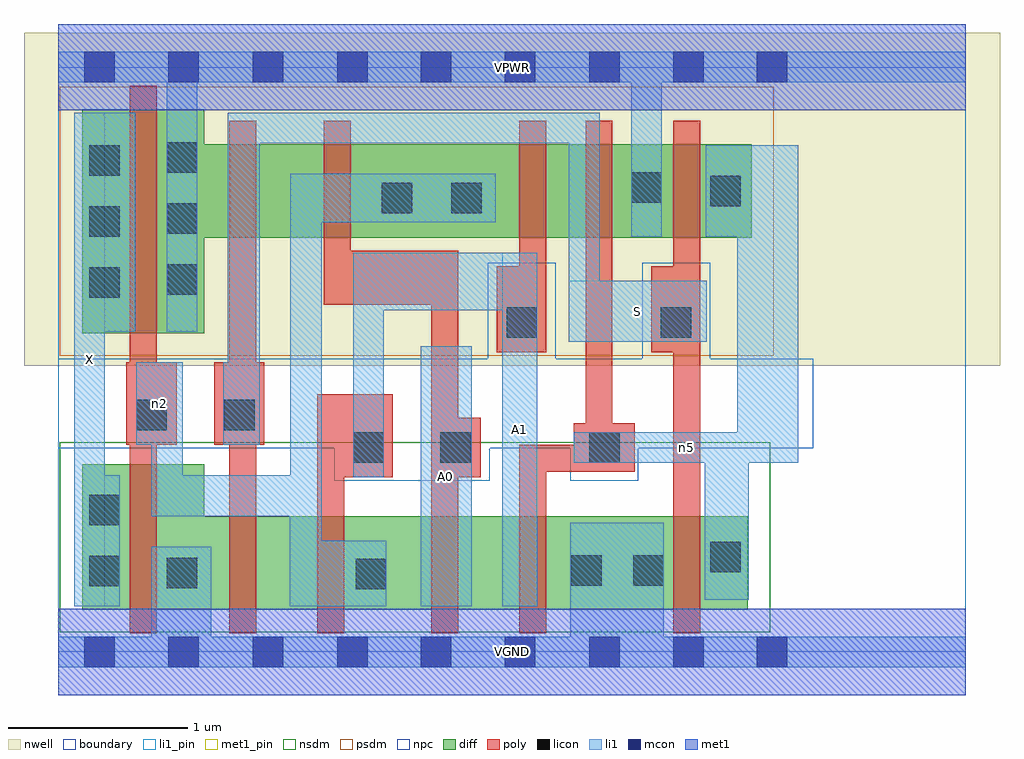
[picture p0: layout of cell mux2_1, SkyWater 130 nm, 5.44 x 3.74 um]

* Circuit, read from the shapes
.subckt mux2_1 A0 A1 S VGND VPWR X n2 n5
XM1 VGND n2 X VSUBS sky130_fd_pr__nfet_01v8 w=0.81 l=0.15
XM2 n1 S VGND VSUBS sky130_fd_pr__nfet_01v8 w=0.52 l=0.15
XM3 n2 A1 n1 VSUBS sky130_fd_pr__nfet_01v8 w=0.52 l=0.15
XM4 n3 A0 n2 VSUBS sky130_fd_pr__nfet_01v8 w=0.52 l=0.15
XM5 VGND n5 n3 VSUBS sky130_fd_pr__nfet_01v8 w=0.52 l=0.15
XM6 n5 S VGND VSUBS sky130_fd_pr__nfet_01v8 w=0.52 l=0.15
XM7 VPWR n2 X n4 sky130_fd_pr__pfet_01v8 w=1.25 l=0.15
XM8 n6 S VPWR n4 sky130_fd_pr__pfet_01v8 w=0.52 l=0.15
XM9 n2 A0 n6 n4 sky130_fd_pr__pfet_01v8 w=0.52 l=0.15
XM10 n7 A1 n2 n4 sky130_fd_pr__pfet_01v8 w=0.52 l=0.15
XM11 VPWR n5 n7 n4 sky130_fd_pr__pfet_01v8 w=0.52 l=0.15
XM12 n5 S VPWR n4 sky130_fd_pr__pfet_01v8 w=0.52 l=0.15
.ends

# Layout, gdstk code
import gdstk
lib = gdstk.Library(unit=1e-6, precision=1e-09)
def R(c, l, rs):  # rectangles x0, y0, x1, y1
    for r in rs: c.add(gdstk.rectangle(r[:2], r[2:], *l))
def A(c, l, x, y, w, h, nx, ny, dx, dy):  # array of equal rectangles
    R(c, l, [(x+i*dx, y+j*dy, x+i*dx+w, y+j*dy+h) for i in range(nx) for j in range(ny)])
nwell = (64, 20)
diff = (65, 20)
poly = (66, 20)
licon = (66, 44)
li1_pin = (67, 16)
li1 = (67, 20)
mcon = (67, 44)
met1_pin = (68, 16)
met1 = (68, 20)
nsdm = (93, 44)
psdm = (94, 20)
npc = (95, 20)
boundary = (235, 4)

mux2_1 = lib.new_cell('mux2_1')
R(mux2_1, nwell, [(-0.19,1.595,5.25,3.45), (0,1.595,5.06,3.45)])
R(mux2_1, diff, [(0.135,0.235,3.845,0.755), (0.135,0.235,0.815,1.045), (0.135,1.775,0.815,3.025), (0.135,2.31,3.865,2.83)])
R(mux2_1, poly, [(0.4,0.105,0.55,3.155), (0.955,0.105,1.105,2.96), (1.445,0.105,1.595,1.435), (2.08,0.105,2.23,2.235), (2.57,0.105,2.72,1.155), (3.43,0.105,3.58,2.96), (1.445,0.975,1.865,1.435), (2.08,0.975,2.355,1.305), (2.57,1.005,3.215,1.155), (2.875,1.005,3.215,1.275), (2.94,1.005,3.09,2.96), (0.38,1.155,0.66,1.615), (0.87,1.155,1.15,1.615), (2.445,1.67,2.72,2.15), (2.57,1.67,2.72,2.96), (3.305,1.67,3.58,2.15), (1.48,1.935,1.63,2.96), (1.48,1.935,2.23,2.235)])
A(mux2_1, licon, 0.175, 1.975, 0.17, 0.17, 1, 3, 0, 0.34)
A(mux2_1, licon, 0.605, 1.99, 0.17, 0.17, 1, 3, 0, 0.34)
R(mux2_1, licon, [(1.66,0.35,1.83,0.52), (0.605,0.355,0.775,0.525), (0.175,0.365,0.345,0.535), (2.86,0.37,3.03,0.54), (3.205,0.37,3.375,0.54), (3.635,0.445,3.805,0.615), (0.175,0.705,0.345,0.875), (1.645,1.055,1.815,1.225), (2.13,1.055,2.3,1.225), (2.96,1.055,3.13,1.225), (0.435,1.235,0.605,1.405), (0.925,1.235,1.095,1.405), (2.5,1.75,2.67,1.92), (3.36,1.75,3.53,1.92), (1.805,2.445,1.975,2.615), (2.19,2.445,2.36,2.615), (3.635,2.485,3.805,2.655), (3.195,2.505,3.365,2.675)])
R(mux2_1, li1_pin, [(0.09,0.255,0.26,3.005), (2.02,0.255,2.305,1.705), (2.475,0.255,2.67,2.225), (2.845,1.73,3.615,2.07)])
R(mux2_1, li1, [(0,-0.085,5.06,0.085), (0.52,-0.085,0.855,0.585), (2.855,-0.085,3.375,0.72), (0.09,0.255,0.26,3.005), (0.09,0.255,0.345,0.985), (1.29,0.255,1.83,0.62), (1.29,0.255,1.47,0.985), (1.295,0.255,1.47,2.665), (2.02,0.255,2.305,1.705), (2.475,0.255,2.67,2.225), (3.605,0.29,3.85,1.225), (0.52,0.755,1.47,0.985), (0.52,0.755,0.695,1.615), (1.645,0.975,1.815,2.225), (2.875,1.055,4.125,1.225), (3.785,1.055,4.125,2.825), (0.435,1.155,0.695,1.615), (0.92,1.155,1.125,1.615), (0.945,1.155,1.125,3.005), (2.845,1.73,3.02,3.005), (2.845,1.73,3.615,2.07), (0.09,1.785,0.43,3.005), (0.605,1.785,0.775,3.345), (1.645,1.905,2.67,2.225), (3.195,2.315,3.365,3.345), (3.61,2.315,4.125,2.825), (1.295,2.395,2.44,2.665), (0.945,2.835,3.02,3.005), (0,3.175,5.06,3.345)])
A(mux2_1, mcon, 0.145, -0.085, 0.17, 0.17, 4, 2, 0.47, 3.26)
A(mux2_1, mcon, 2.02, -0.085, 0.17, 0.17, 4, 2, 0.47, 3.26)
R(mux2_1, mcon, [(3.895,-0.085,4.065,0.085), (3.895,3.175,4.065,3.345)])
R(mux2_1, met1_pin, [(0,-0.24,5.06,0.24), (0,3.02,5.06,3.5)])
R(mux2_1, met1, [(0,-0.24,5.06,0.24), (0,3.02,5.06,3.5)])
R(mux2_1, nsdm, [(0.01,0.11,3.97,1.17)])
R(mux2_1, psdm, [(0.01,1.65,3.99,3.15)])
R(mux2_1, npc, [(1.54,0.955,2.405,1.635), (2.855,0.955,3.235,1.635), (0,1.135,4.21,1.635), (2.395,1.135,2.775,2.17), (3.255,1.135,3.635,2.17)])
R(mux2_1, boundary, [(0,0,5.06,3.26)])
mux2_1.add(gdstk.Label('A0', (2.162,0.98), layer=67, texttype=5))
mux2_1.add(gdstk.Label('A1', (2.572,1.24), layer=67, texttype=5))
mux2_1.add(gdstk.Label('S', (3.23,1.9), layer=67, texttype=5))
mux2_1.add(gdstk.Label('X', (0.175,1.63), layer=67, texttype=5))
mux2_1.add(gdstk.Label('n2', (0.565,1.385), layer=67, texttype=5))
mux2_1.add(gdstk.Label('n5', (3.5,1.14), layer=67, texttype=5))
mux2_1.add(gdstk.Label('VPWR', (2.53,3.26), layer=68, texttype=5))
mux2_1.add(gdstk.Label('VGND', (2.53,0), layer=68, texttype=5))
mux2_1.add(gdstk.Label('A0', (2.162,0.98), layer=67, texttype=16))
mux2_1.add(gdstk.Label('A1', (2.572,1.24), layer=67, texttype=16))
mux2_1.add(gdstk.Label('S', (3.23,1.9), layer=67, texttype=16))
mux2_1.add(gdstk.Label('X', (0.175,1.63), layer=67, texttype=16))
mux2_1.add(gdstk.Label('VPWR', (2.53,3.26), layer=68, texttype=16))
mux2_1.add(gdstk.Label('VGND', (2.53,0), layer=68, texttype=16))

lib.write_gds('mux2_1.gds')
